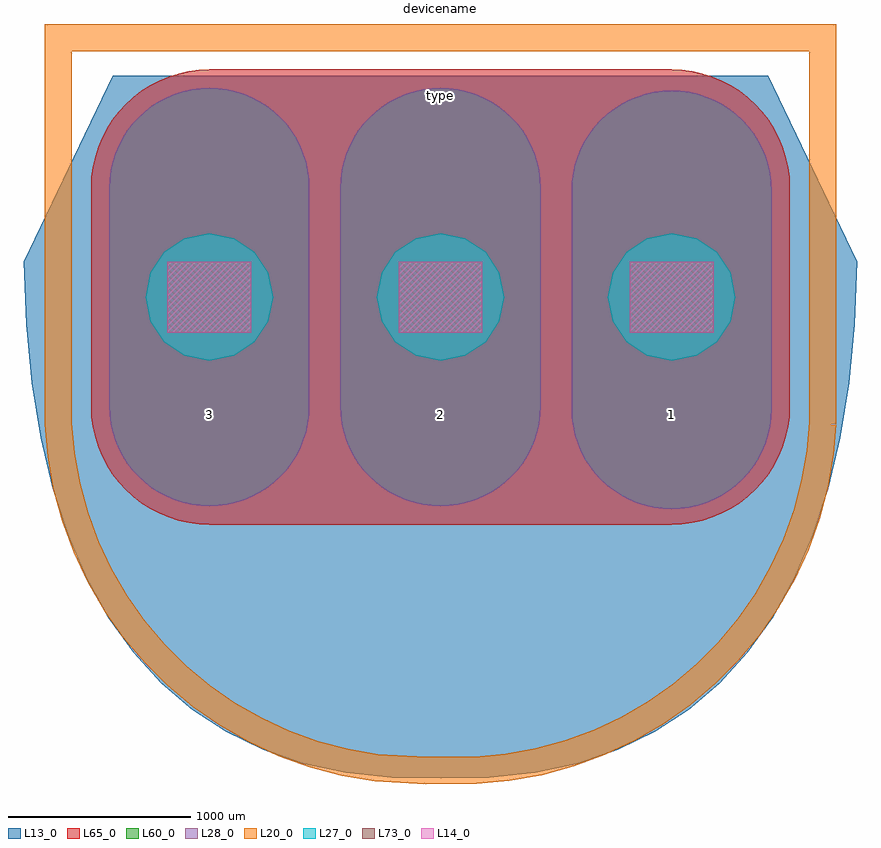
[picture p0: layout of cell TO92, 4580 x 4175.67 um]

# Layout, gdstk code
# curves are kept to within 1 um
import gdstk
lib = gdstk.Library(unit=1e-6, precision=1e-09)
def R(c, l, rs):  # rectangles x0, y0, x1, y1
    for r in rs: c.add(gdstk.rectangle(r[:2], r[2:], *l))
def A(c, l, x, y, w, h, nx, ny, dx, dy):  # array of equal rectangles
    R(c, l, [(x+i*dx, y+j*dy, x+i*dx+w, y+j*dy+h) for i in range(nx) for j in range(ny)])
def P(c, l, *ps):  # polygons
    for p in ps: c.add(gdstk.Polygon(p, *l))
L13_0 = (13, 0)
L14_0 = (14, 0)
L20_0 = (20, 0)
L27_0 = (27, 0)
L28_0 = (28, 0)
L60_0 = (60, 0)
L65_0 = (65, 0)
L73_0 = (73, 0)

to92 = lib.new_cell('TO92')
P(to92, L13_0, [(0,-2845),(267.747,-2842.109),(519.629,-2814.843),(755.486,-2763.437),(975.157,-2688.125),(1178.48,-2589.14),(1365.292,-2466.718),(1535.437,-2321.093),(1688.75,-2152.5),(1825.07,-1961.171),(1944.238,-1747.343),(2046.091,-1511.25),(2130.468,-1253.125),(2197.209,-973.203),(2246.152,-671.718),(2277.136,-348.906),(2290,-5),(1800,1015),(-1800,1015),(-2290,-5),(-2277.136,-348.906),(-2246.152,-671.718),(-2197.209,-973.203),(-2130.468,-1253.125),(-2046.091,-1511.25),(-1944.238,-1747.343),(-1825.07,-1961.171),(-1688.75,-2152.5),(-1535.437,-2321.093),(-1365.292,-2466.718),(-1178.48,-2589.14),(-975.157,-2688.125),(-755.486,-2763.437),(-519.629,-2814.843),(-267.747,-2842.109)])
A(to92, L14_0, -1500, -395, 460, 390, 3, 1, 1270, 0)
P(to92, L27_0, [(-920,-200),(-946.642,-66.061),(-1022.513,47.487),(-1136.061,123.358),(-1270,150),(-1403.939,123.358),(-1517.487,47.487),(-1593.358,-66.061),(-1620,-200),(-1593.358,-333.939),(-1517.487,-447.487),(-1403.939,-523.358),(-1270,-550),(-1136.061,-523.358),(-1022.513,-447.487),(-946.642,-333.939)],
  [(350,-200),(323.358,-66.061),(247.487,47.487),(133.939,123.358),(0,150),(-133.939,123.358),(-247.487,47.487),(-323.358,-66.061),(-350,-200),(-323.358,-333.939),(-247.487,-447.487),(-133.939,-523.358),(0,-550),(133.939,-523.358),(247.487,-447.487),(323.358,-333.939)],
  [(1620,-200),(1593.358,-66.061),(1517.487,47.487),(1403.939,123.358),(1270,150),(1136.061,123.358),(1022.513,47.487),(946.642,-66.061),(920,-200),(946.642,-333.939),(1022.513,-447.487),(1136.061,-523.358),(1270,-550),(1403.939,-523.358),(1517.487,-447.487),(1593.358,-333.939)])
P(to92, L28_0, [(1270,934.783),(1222.064,932.69),(1174.494,926.427),(1127.65,916.042),(1081.889,901.614),(1037.56,883.252),(995,861.097),(954.533,835.317),(916.467,806.107),(881.091,773.692),(848.676,738.316),(819.466,700.25),(793.686,659.783),(771.531,617.223),(753.169,572.894),(738.741,527.133),(728.356,480.289),(722.093,432.719),(720,384.783),(720,-815.217),(722.093,-863.153),(728.356,-910.723),(738.741,-957.567),(753.169,-1003.328),(771.531,-1047.657),(793.686,-1090.217),(819.466,-1130.684),(848.676,-1168.75),(881.091,-1204.126),(916.467,-1236.541),(954.533,-1265.751),(995,-1291.531),(1037.56,-1313.686),(1081.889,-1332.048),(1127.65,-1346.476),(1174.494,-1356.861),(1222.064,-1363.124),(1270,-1365.217),(1317.936,-1363.124),(1365.506,-1356.861),(1412.35,-1346.476),(1458.111,-1332.048),(1502.44,-1313.686),(1545,-1291.531),(1585.467,-1265.751),(1623.533,-1236.541),(1658.909,-1204.126),(1691.324,-1168.75),(1720.534,-1130.684),(1746.314,-1090.217),(1768.469,-1047.657),(1786.831,-1003.328),(1801.259,-957.567),(1811.644,-910.723),(1817.907,-863.153),(1820,-815.217),(1820,384.783),(1817.907,432.719),(1811.644,480.289),(1801.259,527.133),(1786.831,572.894),(1768.469,617.223),(1746.314,659.783),(1720.534,700.25),(1691.324,738.316),(1658.909,773.692),(1623.533,806.107),(1585.467,835.317),(1545,861.097),(1502.44,883.252),(1458.111,901.614),(1412.35,916.042),(1365.506,926.427),(1317.936,932.69)],
  [(0,950),(-47.936,947.907),(-95.506,941.644),(-142.35,931.259),(-188.111,916.831),(-232.44,898.469),(-275,876.314),(-315.467,850.534),(-353.533,821.324),(-388.909,788.909),(-421.324,753.533),(-450.534,715.467),(-476.314,675),(-498.469,632.44),(-516.831,588.111),(-531.259,542.35),(-541.644,495.506),(-547.907,447.936),(-550,400),(-550,-800),(-547.907,-847.936),(-541.644,-895.506),(-531.259,-942.35),(-516.831,-988.111),(-498.469,-1032.44),(-476.314,-1075),(-450.534,-1115.467),(-421.324,-1153.533),(-388.909,-1188.909),(-353.533,-1221.324),(-315.467,-1250.534),(-275,-1276.314),(-232.44,-1298.469),(-188.111,-1316.831),(-142.35,-1331.259),(-95.506,-1341.644),(-47.936,-1347.907),(0,-1350),(47.936,-1347.907),(95.506,-1341.644),(142.35,-1331.259),(188.111,-1316.831),(232.44,-1298.469),(275,-1276.314),(315.467,-1250.534),(353.533,-1221.324),(388.909,-1188.909),(421.324,-1153.533),(450.534,-1115.467),(476.314,-1075),(498.469,-1032.44),(516.831,-988.111),(531.259,-942.35),(541.644,-895.506),(547.907,-847.936),(550,-800),(550,400),(547.907,447.936),(541.644,495.506),(531.259,542.35),(516.831,588.111),(498.469,632.44),(476.314,675),(450.534,715.467),(421.324,753.533),(388.909,788.909),(353.533,821.324),(315.467,850.534),(275,876.314),(232.44,898.469),(188.111,916.831),(142.35,931.259),(95.506,941.644),(47.936,947.907)],
  [(-1270,950),(-1317.936,947.907),(-1365.506,941.644),(-1412.35,931.259),(-1458.111,916.831),(-1502.44,898.469),(-1545,876.314),(-1585.467,850.534),(-1623.533,821.324),(-1658.909,788.909),(-1691.324,753.533),(-1720.534,715.467),(-1746.314,675),(-1768.469,632.44),(-1786.831,588.111),(-1801.259,542.35),(-1811.644,495.506),(-1817.907,447.936),(-1820,400),(-1820,-800),(-1817.907,-847.936),(-1811.644,-895.506),(-1801.259,-942.35),(-1786.831,-988.111),(-1768.469,-1032.44),(-1746.314,-1075),(-1720.534,-1115.467),(-1691.324,-1153.533),(-1658.909,-1188.909),(-1623.533,-1221.324),(-1585.467,-1250.534),(-1545,-1276.314),(-1502.44,-1298.469),(-1458.111,-1316.831),(-1412.35,-1331.259),(-1365.506,-1341.644),(-1317.936,-1347.907),(-1270,-1350),(-1222.064,-1347.907),(-1174.494,-1341.644),(-1127.65,-1331.259),(-1081.889,-1316.831),(-1037.56,-1298.469),(-995,-1276.314),(-954.533,-1250.534),(-916.467,-1221.324),(-881.091,-1188.909),(-848.676,-1153.533),(-819.466,-1115.467),(-793.686,-1075),(-771.531,-1032.44),(-753.169,-988.111),(-738.741,-942.35),(-728.356,-895.506),(-722.093,-847.936),(-720,-800),(-720,400),(-722.093,447.936),(-728.356,495.506),(-738.741,542.35),(-753.169,588.111),(-771.531,632.44),(-793.686,675),(-819.466,715.467),(-848.676,753.533),(-881.091,788.909),(-916.467,821.324),(-954.533,850.534),(-995,876.314),(-1037.56,898.469),(-1081.889,916.831),(-1127.65,931.259),(-1174.494,941.644),(-1222.064,947.907)])
P(to92, L60_0, [(1270,934.783),(1222.064,932.69),(1174.494,926.427),(1127.65,916.042),(1081.889,901.614),(1037.56,883.252),(995,861.097),(954.533,835.317),(916.467,806.107),(881.091,773.692),(848.676,738.316),(819.466,700.25),(793.686,659.783),(771.531,617.223),(753.169,572.894),(738.741,527.133),(728.356,480.289),(722.093,432.719),(720,384.783),(720,-815.217),(722.093,-863.153),(728.356,-910.723),(738.741,-957.567),(753.169,-1003.328),(771.531,-1047.657),(793.686,-1090.217),(819.466,-1130.684),(848.676,-1168.75),(881.091,-1204.126),(916.467,-1236.541),(954.533,-1265.751),(995,-1291.531),(1037.56,-1313.686),(1081.889,-1332.048),(1127.65,-1346.476),(1174.494,-1356.861),(1222.064,-1363.124),(1270,-1365.217),(1317.936,-1363.124),(1365.506,-1356.861),(1412.35,-1346.476),(1458.111,-1332.048),(1502.44,-1313.686),(1545,-1291.531),(1585.467,-1265.751),(1623.533,-1236.541),(1658.909,-1204.126),(1691.324,-1168.75),(1720.534,-1130.684),(1746.314,-1090.217),(1768.469,-1047.657),(1786.831,-1003.328),(1801.259,-957.567),(1811.644,-910.723),(1817.907,-863.153),(1820,-815.217),(1820,384.783),(1817.907,432.719),(1811.644,480.289),(1801.259,527.133),(1786.831,572.894),(1768.469,617.223),(1746.314,659.783),(1720.534,700.25),(1691.324,738.316),(1658.909,773.692),(1623.533,806.107),(1585.467,835.317),(1545,861.097),(1502.44,883.252),(1458.111,901.614),(1412.35,916.042),(1365.506,926.427),(1317.936,932.69)],
  [(0,950),(-47.936,947.907),(-95.506,941.644),(-142.35,931.259),(-188.111,916.831),(-232.44,898.469),(-275,876.314),(-315.467,850.534),(-353.533,821.324),(-388.909,788.909),(-421.324,753.533),(-450.534,715.467),(-476.314,675),(-498.469,632.44),(-516.831,588.111),(-531.259,542.35),(-541.644,495.506),(-547.907,447.936),(-550,400),(-550,-800),(-547.907,-847.936),(-541.644,-895.506),(-531.259,-942.35),(-516.831,-988.111),(-498.469,-1032.44),(-476.314,-1075),(-450.534,-1115.467),(-421.324,-1153.533),(-388.909,-1188.909),(-353.533,-1221.324),(-315.467,-1250.534),(-275,-1276.314),(-232.44,-1298.469),(-188.111,-1316.831),(-142.35,-1331.259),(-95.506,-1341.644),(-47.936,-1347.907),(0,-1350),(47.936,-1347.907),(95.506,-1341.644),(142.35,-1331.259),(188.111,-1316.831),(232.44,-1298.469),(275,-1276.314),(315.467,-1250.534),(353.533,-1221.324),(388.909,-1188.909),(421.324,-1153.533),(450.534,-1115.467),(476.314,-1075),(498.469,-1032.44),(516.831,-988.111),(531.259,-942.35),(541.644,-895.506),(547.907,-847.936),(550,-800),(550,400),(547.907,447.936),(541.644,495.506),(531.259,542.35),(516.831,588.111),(498.469,632.44),(476.314,675),(450.534,715.467),(421.324,753.533),(388.909,788.909),(353.533,821.324),(315.467,850.534),(275,876.314),(232.44,898.469),(188.111,916.831),(142.35,931.259),(95.506,941.644),(47.936,947.907)],
  [(-1270,950),(-1317.936,947.907),(-1365.506,941.644),(-1412.35,931.259),(-1458.111,916.831),(-1502.44,898.469),(-1545,876.314),(-1585.467,850.534),(-1623.533,821.324),(-1658.909,788.909),(-1691.324,753.533),(-1720.534,715.467),(-1746.314,675),(-1768.469,632.44),(-1786.831,588.111),(-1801.259,542.35),(-1811.644,495.506),(-1817.907,447.936),(-1820,400),(-1820,-800),(-1817.907,-847.936),(-1811.644,-895.506),(-1801.259,-942.35),(-1786.831,-988.111),(-1768.469,-1032.44),(-1746.314,-1075),(-1720.534,-1115.467),(-1691.324,-1153.533),(-1658.909,-1188.909),(-1623.533,-1221.324),(-1585.467,-1250.534),(-1545,-1276.314),(-1502.44,-1298.469),(-1458.111,-1316.831),(-1412.35,-1331.259),(-1365.506,-1341.644),(-1317.936,-1347.907),(-1270,-1350),(-1222.064,-1347.907),(-1174.494,-1341.644),(-1127.65,-1331.259),(-1081.889,-1316.831),(-1037.56,-1298.469),(-995,-1276.314),(-954.533,-1250.534),(-916.467,-1221.324),(-881.091,-1188.909),(-848.676,-1153.533),(-819.466,-1115.467),(-793.686,-1075),(-771.531,-1032.44),(-753.169,-988.111),(-738.741,-942.35),(-728.356,-895.506),(-722.093,-847.936),(-720,-800),(-720,400),(-722.093,447.936),(-728.356,495.506),(-738.741,542.35),(-753.169,588.111),(-771.531,632.44),(-793.686,675),(-819.466,715.467),(-848.676,753.533),(-881.091,788.909),(-916.467,821.324),(-954.533,850.534),(-995,876.314),(-1037.56,898.469),(-1081.889,916.831),(-1127.65,931.259),(-1174.494,941.644),(-1222.064,947.907)])
P(to92, L65_0, [(1270,1050.096),(-1270,1050.096),(-1326.665,1047.621),(-1382.872,1040.221),(-1438.27,1027.94),(-1492.34,1010.891),(-1544.738,989.187),(-1595.054,962.995),(-1642.878,932.528),(-1687.869,898.005),(-1729.687,859.686),(-1768.006,817.867),(-1802.528,772.879),(-1832.995,725.054),(-1859.187,674.739),(-1880.889,622.348),(-1897.942,568.261),(-1910.222,512.869),(-1917.621,456.668),(-1920,402.186),(-1920,-802.186),(-1917.621,-856.668),(-1910.222,-912.869),(-1897.942,-968.261),(-1880.889,-1022.348),(-1859.187,-1074.739),(-1832.995,-1125.054),(-1802.528,-1172.879),(-1768.006,-1217.867),(-1729.687,-1259.686),(-1687.869,-1298.004),(-1642.878,-1332.528),(-1595.054,-1362.995),(-1544.738,-1389.187),(-1492.34,-1410.892),(-1438.27,-1427.94),(-1382.872,-1440.221),(-1326.665,-1447.621),(-1270,-1450.096),(1270,-1450.096),(1326.665,-1447.621),(1382.872,-1440.221),(1438.27,-1427.94),(1492.34,-1410.891),(1544.738,-1389.187),(1595.054,-1362.995),(1642.878,-1332.528),(1687.869,-1298.005),(1729.687,-1259.686),(1768.006,-1217.867),(1802.528,-1172.879),(1832.995,-1125.054),(1859.187,-1074.739),(1880.889,-1022.348),(1897.942,-968.261),(1910.222,-912.869),(1917.621,-856.668),(1920,-802.186),(1920,402.186),(1917.621,456.668),(1910.222,512.869),(1897.942,568.261),(1880.889,622.348),(1859.187,674.739),(1832.995,725.054),(1802.528,772.879),(1768.006,817.867),(1729.687,859.686),(1687.869,898.004),(1642.878,932.528),(1595.054,962.995),(1544.738,989.187),(1492.34,1010.892),(1438.27,1027.94),(1382.872,1040.221),(1326.665,1047.621)])
A(to92, L73_0, -1500, -395, 460, 390, 3, 1, 1270, 0)
to92.add(gdstk.FlexPath([(2100,-895),(2100,1225),(-2100,1225),(-2100,-895),(-2084.11,-1068.95),(-2053.119,-1240.853),(-2007.264,-1409.401),(-1946.893,-1573.311),(-1872.467,-1731.336),(-1784.551,-1882.272),(-1683.814,-2024.972),(-1571.024,-2158.349),(-1447.038,-2281.389),(-1312.801,-2393.154),(-1169.333,-2492.794),(-1017.728,-2579.551),(-859.137,-2652.764),(-694.769,-2711.877),(-525.875,-2756.439),(-353.74,-2786.112),(-79.673,-2800.669),(195,-2800),(368.95,-2784.11),(540.853,-2753.119),(709.401,-2707.264),(873.311,-2646.893),(1031.336,-2572.467),(1182.272,-2484.551),(1324.972,-2383.814),(1458.349,-2271.024),(1581.389,-2147.038),(1693.154,-2012.801),(1792.794,-1869.333),(1879.551,-1717.728),(1952.764,-1559.137),(2011.877,-1394.769),(2056.439,-1225.875),(2086.112,-1053.74),(2100,-895)], 150, ends="flush", simple_path=True, layer=20, datatype=0))  # L20_0
to92.add(gdstk.Label('3', (-1270,-845), layer=28, texttype=0))
to92.add(gdstk.Label('type', (0,905), layer=11, texttype=0))
to92.add(gdstk.Label('devicename', (0,1400), layer=20, texttype=0))
to92.add(gdstk.Label('2', (0,-845), layer=28, texttype=0))
to92.add(gdstk.Label('1', (1270,-845), layer=28, texttype=0))

lib.write_gds('TO92.gds')
